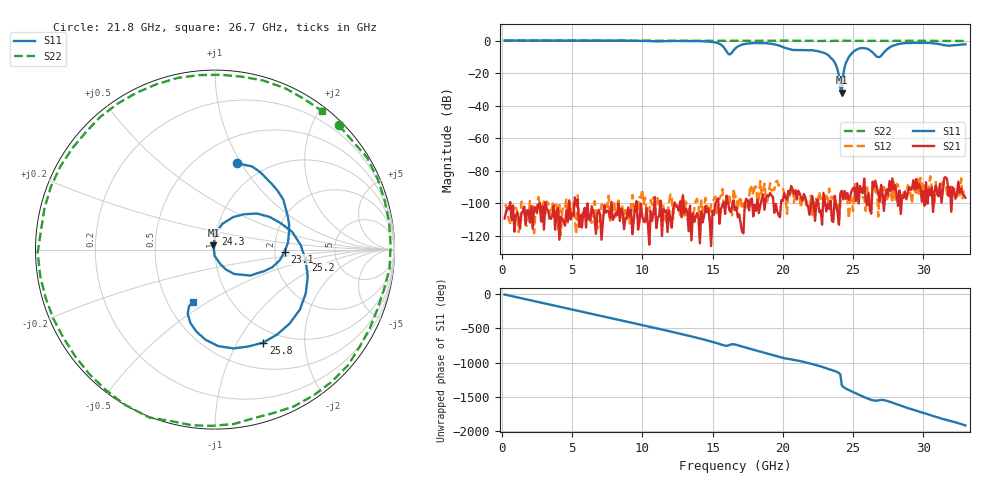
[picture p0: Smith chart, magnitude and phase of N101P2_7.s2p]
# GHZ S RI R 50
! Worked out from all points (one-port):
!   329 points, 200 MHz to 33 GHz, reference 50 ohm
!   lowest |S11| = -32.1 dB at 24.2 GHz (marker M1), VSWR 1.05, Z = 49.1 + j2.29 ohm
!   |S11| at or under -10 dB: 23.35 GHz to 24.72 GHz (1.367 GHz wide, 5.69 % of centre); 26.72 GHz to 26.91 GHz (191.2 MHz wide, 0.713 % of centre)
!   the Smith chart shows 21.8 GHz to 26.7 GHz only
!   S11 on the Smith chart (normalised r, x): 21.8 GHz: 0.75, +0.97; 23.1 GHz: 2.27, -0.06; 24.3 GHz: 0.99, +0.17; 25.2 GHz: 2.98, -0.48; 25.8 GHz: 0.82, -1.29; 26.7 GHz: 0.67, -0.44
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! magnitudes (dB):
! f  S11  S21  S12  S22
! 200 MHz  0.0  -109.3  -101.7  0.0
! 5.7 GHz  -0.1  -114.9  -104.8  -0.1
! 11.2 GHz  -0.5  -107.9  -103.5  -0.1
! 15.2 GHz  -1.2  -100.1  -95.9  -0.2
! 16.2 GHz  -8.6  -104.2  -95.8  -0.2
! 16.6 GHz  -5.1  -104.3  -96.5  -0.1
! 18.4 GHz  -1.5  -101.2  -86.4  -0.1
! 21.8 GHz  -6.0  -101.5  -99.0  -0.2
! 22.1 GHz  -6.0  -95.5  -107.3  -0.1
! 23.1 GHz  -8.2  -105.0  -95.2  -0.2
! 23.8 GHz  -15.2  -100.8  -102.0  -0.1
! 24 GHz  -21.4  -112.9  -113.4  0.0
! 24.1 GHz  -29.2  -94.0  -98.8  0.0
! 24.2 GHz  -32.1  -92.3  -98.0  -0.1
! 24.3 GHz  -21.2  -97.6  -98.8  -0.1
! 24.6 GHz  -11.9  -93.7  -96.6  -0.2
! 25.2 GHz  -5.9  -98.7  -86.5  -0.2
! 25.8 GHz  -4.7  -84.8  -96.1  -0.2
! 26.7 GHz  -9.9  -90.9  -89.8  -0.2
! 27.6 GHz  -4.3  -86.3  -93.8  -0.2
! 28.8 GHz  -1.5  -97.6  -93.9  -0.2
! 33 GHz  -2.3  -96.6  -91.5  -0.3
